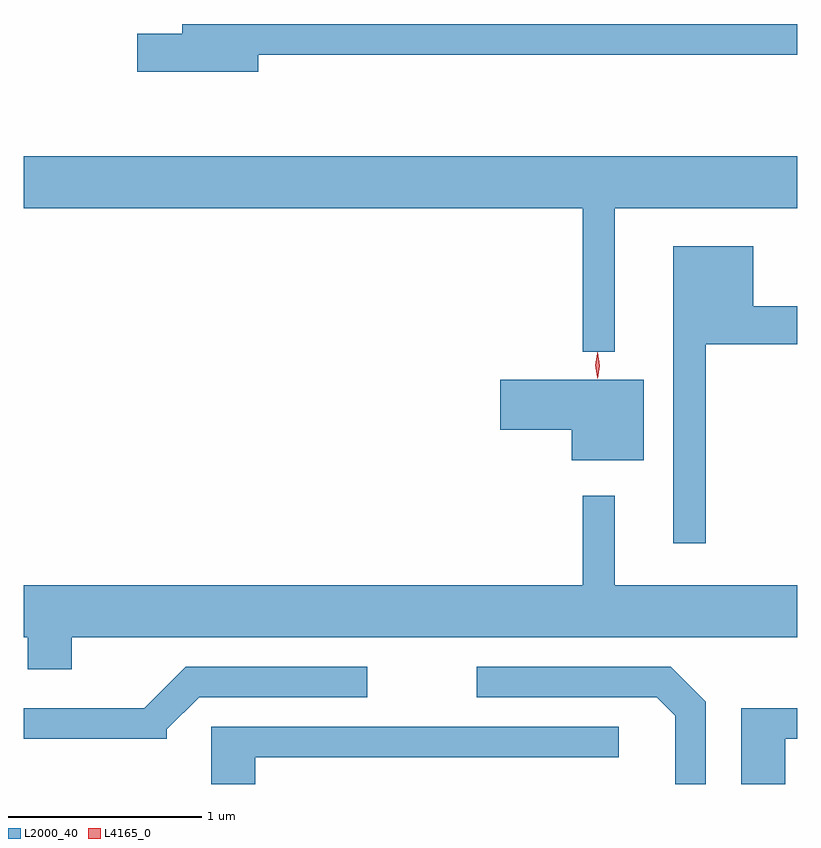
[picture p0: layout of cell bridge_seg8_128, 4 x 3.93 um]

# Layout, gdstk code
import gdstk
lib = gdstk.Library(unit=1e-6, precision=1e-09)
def P(c, l, *ps):  # polygons
    for p in ps: c.add(gdstk.Polygon(p, *l))
L2000_40 = (2000, 40)
L4165_0 = (4165, 0)

bridge_seg8_128 = lib.new_cell('bridge_seg8_128')
P(bridge_seg8_128, L2000_40, [(1721.424,1848.311),(1724.211,1848.311),(1724.211,1848.469),(1721.031,1848.469),(1721.031,1848.419),(1720.796,1848.419),(1720.796,1848.221),(1721.424,1848.221)],
  [(1723.269,1847.516),(1724.211,1847.516),(1724.211,1847.784),(1720.211,1847.784),(1720.211,1847.516),(1723.101,1847.516),(1723.101,1846.773),(1723.269,1846.773)],
  [(1723.739,1846.811),(1724.211,1846.811),(1724.211,1847.009),(1723.984,1847.009),(1723.984,1847.319),(1723.571,1847.319),(1723.571,1845.783),(1723.739,1845.783)],
  [(1723.419,1846.629),(1722.676,1846.629),(1722.676,1846.371),(1723.046,1846.371),(1723.046,1846.211),(1723.419,1846.211)],
  [(1720.459,1845.296),(1724.211,1845.296),(1724.211,1845.564),(1723.269,1845.564),(1723.269,1846.028),(1723.101,1846.028),(1723.101,1845.564),(1720.211,1845.564),(1720.211,1845.296),(1720.231,1845.296),(1720.231,1845.131),(1720.459,1845.131)],
  [(1723.739,1844.962),(1723.557,1845.144),(1722.553,1845.144),(1722.553,1844.986),(1723.484,1844.986),(1723.581,1844.889),(1723.581,1844.537),(1723.739,1844.537)],
  [(1720.949,1844.819),(1721.117,1844.986),(1721.988,1844.986),(1721.988,1845.144),(1721.049,1845.144),(1720.834,1844.929),(1720.211,1844.929),(1720.211,1844.771),(1720.949,1844.771)],
  [(1724.149,1844.771),(1724.211,1844.771),(1724.211,1844.929),(1723.921,1844.929),(1723.921,1844.537),(1724.149,1844.537)],
  [(1721.409,1844.676),(1723.288,1844.676),(1723.288,1844.834),(1721.181,1844.834),(1721.181,1844.537),(1721.409,1844.537)])
P(bridge_seg8_128, L4165_0, [(1723.18,1846.634),(1723.18,1846.634),(1723.17,1846.702),(1723.18,1846.77),(1723.18,1846.77),(1723.181,1846.77),(1723.19,1846.702),(1723.181,1846.634)],
  [(1723.178,1846.64),(1723.177,1846.641),(1723.168,1846.703),(1723.177,1846.766),(1723.178,1846.767),(1723.178,1846.766),(1723.188,1846.703),(1723.178,1846.641)])

lib.write_gds('bridge_seg8_128.gds')
